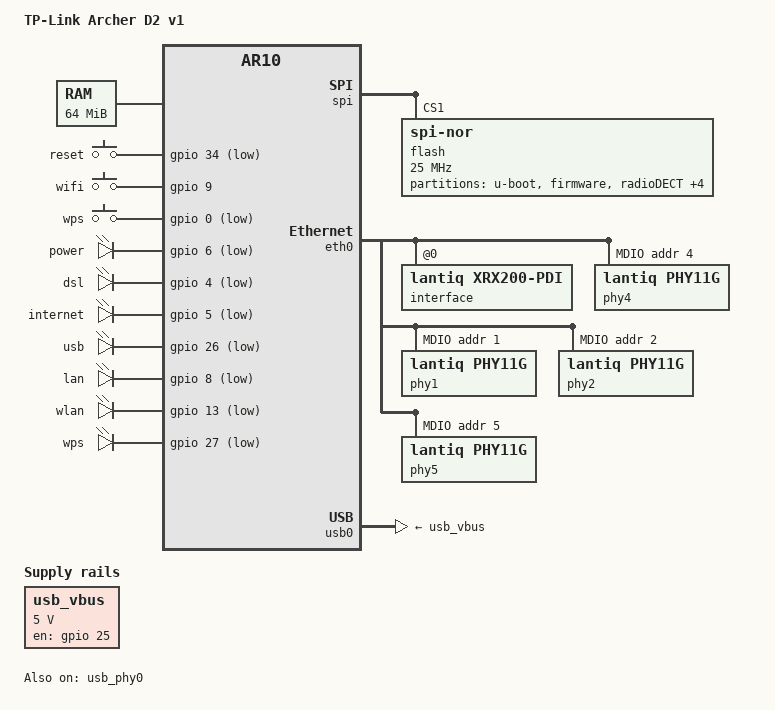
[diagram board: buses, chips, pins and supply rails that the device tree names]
// SPDX-License-Identifier: GPL-2.0-or-later OR MIT
/dts-v1/;

#include "ar10.dtsi"

#include <dt-bindings/input/input.h>
#include <dt-bindings/mips/lantiq_rcu_gphy.h>

/ {
 	compatible = "tplink,archer-d2", "lantiq,xway", "lantiq,ar10";
 	model = "TP-Link Archer D2 v1";

 	memory@0 {
 		device_type = "memory";
 		reg = <0x0 0x4000000>;
 	};

	aliases {
                led-boot = &led_power;
                led-failsafe = &led_power;
                led-running = &led_power;
                led-upgrade = &led_power;

                led-dsl = &led_dsl;
                led-internet = &led_internet;
                led-wifi = &led_wlan;
        };

	keys: keys {
                compatible = "gpio-keys-polled";
                poll-interval = <100>;

                reset {
                        label = "reset";
                        gpios = <&gpio 34 GPIO_ACTIVE_LOW>;
                        linux,code = <KEY_RESTART>;
                };

                wifi {
                        label = "wifi";
                        gpios = <&gpio 9 GPIO_ACTIVE_HIGH>;
                        linux,code = <KEY_RFKILL>;
                        linux,input-type = <EV_SW>;
                };

                wps {
                        label = "wps";
                        gpios = <&gpio 0 GPIO_ACTIVE_LOW>;
                        linux,code = <KEY_WPS_BUTTON>;
                };
        };

        leds: leds {
                compatible = "gpio-leds";

                led_power: power {
                        label = "power";
                        gpios = <&gpio 6 GPIO_ACTIVE_LOW>;
                        default-state = "keep";
                };

                led_dsl: dsl {
                        label = "dsl";
                        gpios = <&gpio 4 GPIO_ACTIVE_LOW>;
                };

                led_internet: internet {
                        label = "internet";
                        gpios = <&gpio 5 GPIO_ACTIVE_LOW>;
                };

                usb {   
                        label = "usb";
                        gpios = <&gpio 26 GPIO_ACTIVE_LOW>;
                        trigger-sources = <&ehci_port1>;
                        linux,default-trigger = "usbport";
                };

                lan {   
                        label = "lan";
                        gpios = <&gpio 8 GPIO_ACTIVE_LOW>;
                };

                led_wlan: wlan {
                        label = "wlan";
                        gpios = <&gpio 13 GPIO_ACTIVE_LOW>;
                };

                wps {
                        label = "wps";
                        gpios = <&gpio 27 GPIO_ACTIVE_LOW>;
                };
        };

        usb_vbus: regulator-usb-vbus {
		compatible = "regulator-fixed";

		regulator-name = "USB_VBUS";

		regulator-min-microvolt = <5000000>;
		regulator-max-microvolt = <5000000>;

		gpio = <&gpio 25 GPIO_ACTIVE_HIGH>;
		enable-active-high;
	};
};

&spi {
        status = "okay";

        flash@0 {
                compatible = "jedec,spi-nor";
                reg = <1>;
                spi-max-frequency = <25000000>;
                m25p,fast-read;

                partitions {
                        compatible = "fixed-partitions";
                        #address-cells = <1>;
                        #size-cells = <1>;

                        partition@0 {
                                reg = <0x0 0x20000>;
                                label = "u-boot";
                                read-only;
                        };

                        partition@20000 {
                                reg = <0x20000 0xf90000>;
                                label = "firmware";
                        };

                        partition@fb0000 {
                                reg = <0xfb0000 0x10000>;
                                label = "radioDECT";
                                read-only;
                        };

                        partition@fc0000 {
                                reg = <0xfc0000 0x10000>;
                                label = "config";
                                read-only;
                        };

                        romfile: partition@fd0000 {
                                reg = <0xfd0000 0x10000>;
                                label = "romfile";
                                read-only;
                        };

                        partition@fe0000 {
                                reg = <0xfe0000 0x10000>;
                                label = "rom";
                                read-only;
                        };

                        radio: partition@ff0000 {
                                reg = <0xff0000 0x10000>;
                                label = "radio";
                                read-only;
                        };
                };
        };
};

&eth0 {
        pinctrl-names = "default";

	interface@0 {
		compatible = "lantiq,xrx200-pdi";
		#address-cells = <1>;
		#size-cells = <0>;
		reg = <0>;
		mtd-mac-address = <&romfile 0xf100>;
		lantiq,switch;

		ethernet@4 {
			compatible = "lantiq,xrx200-pdi-port";
			reg = <4>;
			phy-mode = "rgmii";
			phy-handle = <&phy4>;
		};
		ethernet@1 {
			compatible = "lantiq,xrx200-pdi-port";
			reg = <1>;
			phy-mode = "rgmii";
			phy-handle = <&phy1>;
		};
		ethernet@2 {
			compatible = "lantiq,xrx200-pdi-port";
			reg = <2>;
			phy-mode = "gmii";
			phy-handle = <&phy2>;
		};
		ethernet@5 {
			compatible = "lantiq,xrx200-pdi-port";
			reg = <5>;
			phy-mode = "rgmii";
			phy-handle = <&phy5>;
		};
	};

		mdio@0 {
			#address-cells = <1>;
			#size-cells = <0>;
			compatible = "lantiq,xrx200-mdio";
			phy4: ethernet-phy@4 {
				reg = <0x4>;
				compatible = "lantiq,phy11g", "ethernet-phy-ieee802.3-c22";
			};
			phy1: ethernet-phy@1 {
				reg = <0x1>;
				compatible = "lantiq,phy11g", "ethernet-phy-ieee802.3-c22";
			};
			phy2: ethernet-phy@2 {
				reg = <0x2>;
				compatible = "lantiq,phy11g", "ethernet-phy-ieee802.3-c22";
			};
			phy5: ethernet-phy@5 {
				reg = <0x5>;
				compatible = "lantiq,phy11g", "ethernet-phy-ieee802.3-c22";
			};
                };
};

&usb0 {
        status = "okay";
        vbus-supply = <&usb_vbus>;
};

&usb_phy0 {
        status = "okay";
};

&pcie0 {
	pcie@0 {
		reg = <0 0 0 0 0>;
		#interrupt-cells = <1>;
		#size-cells = <2>;
		#address-cells = <3>;
		device_type = "pci";

		wifi@0,0 {
			reg = <0 0 0 0 0>;
			mediatek,mtd-eeprom = <&radio 0x0000>;
			big-endian;
			ieee80211-freq-limit = <5000000 6000000>;
			mtd-mac-address = <&romfile 0xf100>;
			mtd-mac-address-increment = <2>;
		};
	};
};
